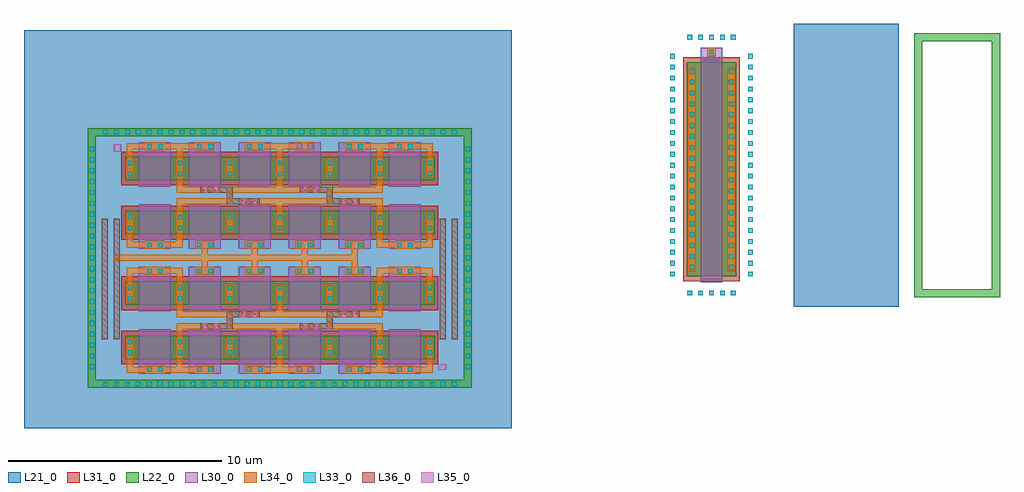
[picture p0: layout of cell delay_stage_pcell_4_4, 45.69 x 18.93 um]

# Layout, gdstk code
from math import pi, radians
import gdstk
lib = gdstk.Library(unit=1e-6, precision=5e-09)
def R(c, l, rs):  # rectangles x0, y0, x1, y1
    for r in rs: c.add(gdstk.rectangle(r[:2], r[2:], *l))
def A(c, l, x, y, w, h, nx, ny, dx, dy):  # array of equal rectangles
    R(c, l, [(x+i*dx, y+j*dy, x+i*dx+w, y+j*dy+h) for i in range(nx) for j in range(ny)])
def P(c, l, *ps):  # polygons
    for p in ps: c.add(gdstk.Polygon(p, *l))
L21_0 = (21, 0)
L22_0 = (22, 0)
L30_0 = (30, 0)
L31_0 = (31, 0)
L33_0 = (33, 0)
L34_0 = (34, 0)
L35_0 = (35, 0)
L36_0 = (36, 0)

delay_stage_pcell_1_2 = lib.new_cell('delay_stage_pcell_1$2')
R(delay_stage_pcell_1_2, L22_0, [(0.17,0.3,0.63,1.4), (0.63,0.3,2.51,1.4), (2.51,0.3,2.97,1.4)])
R(delay_stage_pcell_1_2, L30_0, [(0.82,0,2.32,1.7)])
R(delay_stage_pcell_1_2, L31_0, [(0,0.06,3.14,1.64)])
R(delay_stage_pcell_1_2, L33_0, [(0.29,0.485,0.51,0.705), (2.63,0.485,2.85,0.705), (0.29,0.995,0.51,1.215), (2.63,0.995,2.85,1.215)])
R(delay_stage_pcell_1_2, L34_0, [(0.21,0.405,0.59,1.295), (2.55,0.405,2.93,1.295)])

delay_stage_pcell_4 = lib.new_cell('delay_stage_pcell_4')
delay_stage_pcell_4.add(gdstk.Reference(delay_stage_pcell_1_2, (0,0)))
delay_stage_pcell_4.add(gdstk.Reference(delay_stage_pcell_1_2, (2.34,0)))
delay_stage_pcell_4.add(gdstk.Reference(delay_stage_pcell_1_2, (4.68,0)))
delay_stage_pcell_4.add(gdstk.Reference(delay_stage_pcell_1_2, (7.02,0)))

delay_stage_pcell_1_1 = lib.new_cell('delay_stage_pcell_1$1')
R(delay_stage_pcell_1_1, L22_0, [(0.17,0.3,0.63,1.4), (0.63,0.3,2.51,1.4), (2.51,0.3,2.97,1.4)])
R(delay_stage_pcell_1_1, L30_0, [(0.82,0,2.32,1.7)])
R(delay_stage_pcell_1_1, L31_0, [(0,0.06,3.14,1.64)])
R(delay_stage_pcell_1_1, L33_0, [(0.29,0.485,0.51,0.705), (2.63,0.485,2.85,0.705), (0.29,0.995,0.51,1.215), (2.63,0.995,2.85,1.215)])
R(delay_stage_pcell_1_1, L34_0, [(0.21,0.405,0.59,1.295), (2.55,0.405,2.93,1.295)])

delay_stage_pcell_1_4 = lib.new_cell('delay_stage_pcell_1_4')
R(delay_stage_pcell_1_4, L30_0, [(0.82,0,2.32,0.38), (0.82,4.62,2.32,5), (0.82,5.84,2.32,6.22), (0.82,10.46,2.32,10.84)])
R(delay_stage_pcell_1_4, L33_0, [(1.205,0.08,1.425,0.3), (1.715,0.08,1.935,0.3), (1.205,4.7,1.425,4.92), (1.715,4.7,1.935,4.92), (1.205,5.92,1.425,6.14), (1.715,5.92,1.935,6.14), (1.205,10.54,1.425,10.76), (1.715,10.54,1.935,10.76)])
R(delay_stage_pcell_1_4, L34_0, [(1.125,0,2.015,0.38), (1.125,4.62,2.015,5), (1.125,5.84,2.015,6.22), (1.125,10.46,2.015,10.84)])
delay_stage_pcell_1_4.add(gdstk.FlexPath([(2.74,10.055),(2.74,10.65),(0.4,10.65),(0.4,10.055)], 0.28, ends="flush", simple_path=True, layer=34, datatype=0))  # L34_0
delay_stage_pcell_1_4.add(gdstk.FlexPath([(2.74,0.785),(2.74,0.19),(0.4,0.19),(0.4,0.785)], 0.28, ends="flush", simple_path=True, layer=34, datatype=0))  # L34_0
delay_stage_pcell_1_4.add(gdstk.FlexPath([(2.74,6.625),(2.74,6.03),(0.4,6.03),(0.4,6.625)], 0.28, ends="flush", simple_path=True, layer=34, datatype=0))  # L34_0
delay_stage_pcell_1_4.add(gdstk.FlexPath([(2.74,4.215),(2.74,4.81),(0.4,4.81),(0.4,4.215)], 0.28, ends="flush", simple_path=True, layer=34, datatype=0))  # L34_0
delay_stage_pcell_1_4.add(gdstk.Reference(delay_stage_pcell_1_1, (0,8.76)))
delay_stage_pcell_1_4.add(gdstk.Reference(delay_stage_pcell_1_1, (0,2.92)))
delay_stage_pcell_1_4.add(gdstk.Reference(delay_stage_pcell_1_1, (0,2.08), x_reflection=True))
delay_stage_pcell_1_4.add(gdstk.Reference(delay_stage_pcell_1_1, (0,7.92), x_reflection=True))

delay_stage_pcell_4_4 = lib.new_cell('delay_stage_pcell_4_4')
R(delay_stage_pcell_4_4, L21_0, [(-6.55,-2.045,16.29,16.595), (29.495,3.65,34.395,16.89)])
R(delay_stage_pcell_4_4, L22_0, [(24.485,5.08,24.945,15.08), (24.945,5.08,26.325,15.08), (26.325,5.08,26.785,15.08)])
P(delay_stage_pcell_4_4, L22_0, [(35.12,4.09),(35.12,16.07),(35.5,16.07),(35.5,4.47),(38.76,4.47),(38.76,16.07),(35.12,16.07),(35.12,16.45),(39.14,16.45),(39.14,4.09)])
R(delay_stage_pcell_4_4, L30_0, [(1.17,0.51,2.67,0.89), (1.17,0.51,2.67,0.89), (3.51,0.51,5.01,0.89), (3.51,0.51,5.01,0.89), (5.85,0.51,7.35,0.89), (5.85,0.51,7.35,0.89), (8.19,0.51,9.69,0.89), (8.19,0.51,9.69,0.89), (25.135,4.78,26.135,15.38), (1.17,5.13,2.67,5.51), (1.17,5.13,2.67,5.51), (3.51,5.13,5.01,5.51), (3.51,5.13,5.01,5.51), (5.85,5.13,7.35,5.51), (5.85,5.13,7.35,5.51), (8.19,5.13,9.69,5.51), (8.19,5.13,9.69,5.51), (1.17,6.35,2.67,6.73), (1.17,6.35,2.67,6.73), (3.51,6.35,5.01,6.73), (3.51,6.35,5.01,6.73), (5.85,6.35,7.35,6.73), (5.85,6.35,7.35,6.73), (8.19,6.35,9.69,6.73), (8.19,6.35,9.69,6.73), (1.17,10.97,2.67,11.35), (1.17,10.97,2.67,11.35), (3.51,10.97,5.01,11.35), (3.51,10.97,5.01,11.35), (5.85,10.97,7.35,11.35), (5.85,10.97,7.35,11.35), (8.19,10.97,9.69,11.35), (8.19,10.97,9.69,11.35), (25.135,15.38,26.135,15.76)])
R(delay_stage_pcell_4_4, L31_0, [(24.315,4.84,26.955,15.32)])
A(delay_stage_pcell_4_4, L33_0, -2.84, -0.07, 0.22, 0.22, 33, 2, 0.51, 11.78)
A(delay_stage_pcell_4_4, L33_0, -3.48, 0.72, 0.22, 0.22, 1, 21, 0, 0.51)
A(delay_stage_pcell_4_4, L33_0, 14.12, 0.72, 0.22, 0.22, 1, 21, 0, 0.51)
A(delay_stage_pcell_4_4, L33_0, 24.505, 4.17, 0.22, 0.22, 5, 2, 0.51, 11.98)
A(delay_stage_pcell_4_4, L33_0, 23.705, 5.06, 0.22, 0.22, 1, 21, 0, 0.51)
A(delay_stage_pcell_4_4, L33_0, 27.345, 5.06, 0.22, 0.22, 1, 21, 0, 0.51)
A(delay_stage_pcell_4_4, L33_0, 24.605, 5.38, 0.22, 0.22, 1, 19, 0, 0.51)
A(delay_stage_pcell_4_4, L33_0, 26.445, 5.38, 0.22, 0.22, 1, 19, 0, 0.51)
R(delay_stage_pcell_4_4, L33_0, [(1.555,0.59,1.775,0.81), (1.555,0.59,1.775,0.81), (2.065,0.59,2.285,0.81), (2.065,0.59,2.285,0.81), (3.895,0.59,4.115,0.81), (3.895,0.59,4.115,0.81), (4.405,0.59,4.625,0.81), (4.405,0.59,4.625,0.81), (6.235,0.59,6.455,0.81), (6.235,0.59,6.455,0.81), (6.745,0.59,6.965,0.81), (6.745,0.59,6.965,0.81), (8.575,0.59,8.795,0.81), (8.575,0.59,8.795,0.81), (9.085,0.59,9.305,0.81), (9.085,0.59,9.305,0.81), (1.555,5.21,1.775,5.43), (1.555,5.21,1.775,5.43), (2.065,5.21,2.285,5.43), (2.065,5.21,2.285,5.43), (3.895,5.21,4.115,5.43), (3.895,5.21,4.115,5.43), (4.405,5.21,4.625,5.43), (4.405,5.21,4.625,5.43), (6.235,5.21,6.455,5.43), (6.235,5.21,6.455,5.43), (6.745,5.21,6.965,5.43), (6.745,5.21,6.965,5.43), (8.575,5.21,8.795,5.43), (8.575,5.21,8.795,5.43), (9.085,5.21,9.305,5.43), (9.085,5.21,9.305,5.43), (1.555,6.43,1.775,6.65), (1.555,6.43,1.775,6.65), (2.065,6.43,2.285,6.65), (2.065,6.43,2.285,6.65), (3.895,6.43,4.115,6.65), (3.895,6.43,4.115,6.65), (4.405,6.43,4.625,6.65), (4.405,6.43,4.625,6.65), (6.235,6.43,6.455,6.65), (6.235,6.43,6.455,6.65), (6.745,6.43,6.965,6.65), (6.745,6.43,6.965,6.65), (8.575,6.43,8.795,6.65), (8.575,6.43,8.795,6.65), (9.085,6.43,9.305,6.65), (9.085,6.43,9.305,6.65), (1.555,11.05,1.775,11.27), (1.555,11.05,1.775,11.27), (2.065,11.05,2.285,11.27), (2.065,11.05,2.285,11.27), (3.895,11.05,4.115,11.27), (3.895,11.05,4.115,11.27), (4.405,11.05,4.625,11.27), (4.405,11.05,4.625,11.27), (6.235,11.05,6.455,11.27), (6.235,11.05,6.455,11.27), (6.745,11.05,6.965,11.27), (6.745,11.05,6.965,11.27), (8.575,11.05,8.795,11.27), (8.575,11.05,8.795,11.27), (9.085,11.05,9.305,11.27), (9.085,11.05,9.305,11.27), (25.525,15.46,25.745,15.68)])
R(delay_stage_pcell_4_4, L34_0, [(1.475,0.51,2.365,0.89), (3.815,0.51,4.705,0.89), (3.815,0.51,4.705,0.89), (6.155,0.51,7.045,0.89), (6.155,0.51,7.045,0.89), (8.495,0.51,9.385,0.89), (1.475,5.13,2.365,5.51), (1.475,5.13,2.365,5.51), (3.815,5.13,4.705,5.51), (3.815,5.13,4.705,5.51), (6.155,5.13,7.045,5.51), (6.155,5.13,7.045,5.51), (8.495,5.13,9.385,5.51), (24.525,5.3,24.905,14.86), (26.365,5.3,26.745,14.86), (1.475,6.35,2.365,6.73), (1.475,6.35,2.365,6.73), (3.815,6.35,4.705,6.73), (3.815,6.35,4.705,6.73), (6.155,6.35,7.045,6.73), (6.155,6.35,7.045,6.73), (8.495,6.35,9.385,6.73), (8.495,6.35,9.385,6.73), (1.475,10.97,2.365,11.35), (3.815,10.97,4.705,11.35), (3.815,10.97,4.705,11.35), (6.155,10.97,7.045,11.35), (6.155,10.97,7.045,11.35), (8.495,10.97,9.385,11.35), (25.445,15.38,25.825,15.76)])
R(delay_stage_pcell_4_4, L35_0, [(6.21,0.57,6.47,0.83), (6.21,0.57,6.47,0.83), (6.73,0.57,6.99,0.83), (6.73,0.57,6.99,0.83), (12.85,0.69,13.21,0.95), (1.79,2.6,2.05,2.86), (1.79,2.6,2.05,2.86), (2.31,2.6,2.57,2.86), (2.31,2.6,2.57,2.86), (6.47,2.6,6.73,2.86), (6.47,2.6,6.73,2.86), (6.99,2.6,7.25,2.86), (6.99,2.6,7.25,2.86), (3.61,3.16,3.87,3.42), (3.61,3.16,3.87,3.42), (4.13,3.16,4.39,3.42), (4.13,3.16,4.39,3.42), (8.29,3.16,8.55,3.42), (8.29,3.16,8.55,3.42), (8.81,3.16,9.07,3.42), (8.81,3.16,9.07,3.42), (3.61,8.44,3.87,8.7), (3.61,8.44,3.87,8.7), (4.13,8.44,4.39,8.7), (4.13,8.44,4.39,8.7), (8.29,8.44,8.55,8.7), (8.29,8.44,8.55,8.7), (8.81,8.44,9.07,8.7), (8.81,8.44,9.07,8.7), (1.79,9,2.05,9.26), (1.79,9,2.05,9.26), (2.31,9,2.57,9.26), (2.31,9,2.57,9.26), (6.47,9,6.73,9.26), (6.47,9,6.73,9.26), (6.99,9,7.25,9.26), (6.99,9,7.25,9.26), (-2.36,10.91,-1.99,11.245), (6.21,11.03,6.47,11.29), (6.21,11.03,6.47,11.29), (6.73,11.03,6.99,11.29), (6.73,11.03,6.99,11.29)])
delay_stage_pcell_4_4.add(gdstk.FlexPath([(4.705,11.16),(6.155,11.16)], 0.28, ends="flush", simple_path=True, layer=34, datatype=0))  # L34_0
delay_stage_pcell_4_4.add(gdstk.FlexPath([(5.43,10.565),(5.43,11.02)], 0.28, ends="flush", simple_path=True, layer=34, datatype=0))  # L34_0
delay_stage_pcell_4_4.add(gdstk.FlexPath([(1.475,11.16),(0.75,11.16),(0.75,10.565)], 0.28, ends="flush", simple_path=True, layer=34, datatype=0))  # L34_0
delay_stage_pcell_4_4.add(gdstk.FlexPath([(9.385,11.16),(10.11,11.16),(10.11,10.565)], 0.28, ends="flush", simple_path=True, layer=34, datatype=0))  # L34_0
delay_stage_pcell_4_4.add(gdstk.FlexPath([(4.705,0.7),(6.155,0.7)], 0.28, ends="flush", simple_path=True, layer=34, datatype=0))  # L34_0
delay_stage_pcell_4_4.add(gdstk.FlexPath([(5.43,1.295),(5.43,0.84)], 0.28, ends="flush", simple_path=True, layer=34, datatype=0))  # L34_0
delay_stage_pcell_4_4.add(gdstk.FlexPath([(1.475,0.7),(0.75,0.7),(0.75,1.295)], 0.28, ends="flush", simple_path=True, layer=34, datatype=0))  # L34_0
delay_stage_pcell_4_4.add(gdstk.FlexPath([(9.385,0.7),(10.11,0.7),(10.11,1.295)], 0.28, ends="flush", simple_path=True, layer=34, datatype=0))  # L34_0
delay_stage_pcell_4_4.add(gdstk.FlexPath([(9.08,5.93),(-2.325,5.93)], 0.28, ends="flush", simple_path=True, layer=34, datatype=0))  # L34_0
delay_stage_pcell_4_4.add(gdstk.FlexPath([(10.11,2.185),(10.11,2.73),(9.17,2.73)], 0.28, ends="flush", simple_path=True, layer=34, datatype=0))  # L34_0
delay_stage_pcell_4_4.add(gdstk.FlexPath([(10.11,2.185),(10.11,2.73),(9.17,2.73)], 0.28, ends="flush", simple_path=True, layer=34, datatype=0))  # L34_0
delay_stage_pcell_4_4.add(gdstk.FlexPath([(5.43,2.185),(5.43,2.59)], 0.28, ends="flush", simple_path=True, layer=34, datatype=0))  # L34_0
delay_stage_pcell_4_4.add(gdstk.FlexPath([(5.43,2.185),(5.43,2.59)], 0.28, ends="flush", simple_path=True, layer=34, datatype=0))  # L34_0
delay_stage_pcell_4_4.add(gdstk.FlexPath([(0.75,2.185),(0.75,2.73),(1.69,2.73)], 0.28, ends="flush", simple_path=True, layer=34, datatype=0))  # L34_0
delay_stage_pcell_4_4.add(gdstk.FlexPath([(0.75,2.185),(0.75,2.73),(1.69,2.73)], 0.28, ends="flush", simple_path=True, layer=34, datatype=0))  # L34_0
delay_stage_pcell_4_4.add(gdstk.FlexPath([(9.17,2.73),(7.77,2.73),(7.77,3.29),(6.37,3.29)], 0.28, ends="flush", simple_path=True, layer=34, datatype=0))  # L34_0
delay_stage_pcell_4_4.add(gdstk.FlexPath([(9.17,2.73),(7.77,2.73),(7.77,3.29),(6.37,3.29)], 0.28, ends="flush", simple_path=True, layer=34, datatype=0))  # L34_0
delay_stage_pcell_4_4.add(gdstk.FlexPath([(7.35,2.73),(6.37,2.73)], 0.28, ends="flush", simple_path=True, layer=34, datatype=0))  # L34_0
delay_stage_pcell_4_4.add(gdstk.FlexPath([(7.35,2.73),(6.37,2.73)], 0.28, ends="flush", simple_path=True, layer=34, datatype=0))  # L34_0
delay_stage_pcell_4_4.add(gdstk.FlexPath([(4.49,2.73),(6.37,2.73)], 0.28, ends="flush", simple_path=True, layer=34, datatype=0))  # L34_0
delay_stage_pcell_4_4.add(gdstk.FlexPath([(4.49,2.73),(6.37,2.73)], 0.28, ends="flush", simple_path=True, layer=34, datatype=0))  # L34_0
delay_stage_pcell_4_4.add(gdstk.FlexPath([(4.49,2.73),(3.09,2.73),(3.09,3.29),(1.69,3.29)], 0.28, ends="flush", simple_path=True, layer=34, datatype=0))  # L34_0
delay_stage_pcell_4_4.add(gdstk.FlexPath([(4.49,2.73),(3.09,2.73),(3.09,3.29),(1.69,3.29)], 0.28, ends="flush", simple_path=True, layer=34, datatype=0))  # L34_0
delay_stage_pcell_4_4.add(gdstk.FlexPath([(2.67,2.73),(1.69,2.73)], 0.28, ends="flush", simple_path=True, layer=34, datatype=0))  # L34_0
delay_stage_pcell_4_4.add(gdstk.FlexPath([(2.67,2.73),(1.69,2.73)], 0.28, ends="flush", simple_path=True, layer=34, datatype=0))  # L34_0
delay_stage_pcell_4_4.add(gdstk.FlexPath([(9.17,3.29),(8.19,3.29)], 0.28, ends="flush", simple_path=True, layer=34, datatype=0))  # L34_0
delay_stage_pcell_4_4.add(gdstk.FlexPath([(9.17,3.29),(8.19,3.29)], 0.28, ends="flush", simple_path=True, layer=34, datatype=0))  # L34_0
delay_stage_pcell_4_4.add(gdstk.FlexPath([(4.49,3.29),(6.37,3.29)], 0.28, ends="flush", simple_path=True, layer=34, datatype=0))  # L34_0
delay_stage_pcell_4_4.add(gdstk.FlexPath([(4.49,3.29),(6.37,3.29)], 0.28, ends="flush", simple_path=True, layer=34, datatype=0))  # L34_0
delay_stage_pcell_4_4.add(gdstk.FlexPath([(4.49,3.29),(3.51,3.29)], 0.28, ends="flush", simple_path=True, layer=34, datatype=0))  # L34_0
delay_stage_pcell_4_4.add(gdstk.FlexPath([(4.49,3.29),(3.51,3.29)], 0.28, ends="flush", simple_path=True, layer=34, datatype=0))  # L34_0
delay_stage_pcell_4_4.add(gdstk.FlexPath([(1.69,3.29),(0.75,3.29),(0.75,3.835)], 0.28, ends="flush", simple_path=True, layer=34, datatype=0))  # L34_0
delay_stage_pcell_4_4.add(gdstk.FlexPath([(1.69,3.29),(0.75,3.29),(0.75,3.835)], 0.28, ends="flush", simple_path=True, layer=34, datatype=0))  # L34_0
delay_stage_pcell_4_4.add(gdstk.FlexPath([(10.11,3.835),(10.11,3.29),(9.17,3.29)], 0.28, ends="flush", simple_path=True, layer=34, datatype=0))  # L34_0
delay_stage_pcell_4_4.add(gdstk.FlexPath([(10.11,3.835),(10.11,3.29),(9.17,3.29)], 0.28, ends="flush", simple_path=True, layer=34, datatype=0))  # L34_0
delay_stage_pcell_4_4.add(gdstk.FlexPath([(5.43,3.835),(5.43,3.43)], 0.28, ends="flush", simple_path=True, layer=34, datatype=0))  # L34_0
delay_stage_pcell_4_4.add(gdstk.FlexPath([(5.43,3.835),(5.43,3.43)], 0.28, ends="flush", simple_path=True, layer=34, datatype=0))  # L34_0
delay_stage_pcell_4_4.add(gdstk.FlexPath([(10.11,8.025),(10.11,8.57),(9.17,8.57)], 0.28, ends="flush", simple_path=True, layer=34, datatype=0))  # L34_0
delay_stage_pcell_4_4.add(gdstk.FlexPath([(10.11,9.675),(10.11,9.13),(9.17,9.13)], 0.28, ends="flush", simple_path=True, layer=34, datatype=0))  # L34_0
delay_stage_pcell_4_4.add(gdstk.FlexPath([(5.43,9.675),(5.43,9.27)], 0.28, ends="flush", simple_path=True, layer=34, datatype=0))  # L34_0
delay_stage_pcell_4_4.add(gdstk.FlexPath([(5.43,8.025),(5.43,8.43)], 0.28, ends="flush", simple_path=True, layer=34, datatype=0))  # L34_0
delay_stage_pcell_4_4.add(gdstk.FlexPath([(1.69,8.57),(0.75,8.57),(0.75,8.025)], 0.28, ends="flush", simple_path=True, layer=34, datatype=0))  # L34_0
delay_stage_pcell_4_4.add(gdstk.FlexPath([(0.75,9.675),(0.75,9.13),(1.69,9.13)], 0.28, ends="flush", simple_path=True, layer=34, datatype=0))  # L34_0
delay_stage_pcell_4_4.add(gdstk.FlexPath([(9.17,9.13),(7.77,9.13),(7.77,8.57),(6.37,8.57)], 0.28, ends="flush", simple_path=True, layer=34, datatype=0))  # L34_0
delay_stage_pcell_4_4.add(gdstk.FlexPath([(4.49,9.13),(3.09,9.13),(3.09,8.57),(1.69,8.57)], 0.28, ends="flush", simple_path=True, layer=34, datatype=0))  # L34_0
delay_stage_pcell_4_4.add(gdstk.FlexPath([(2.67,9.13),(1.69,9.13)], 0.28, ends="flush", simple_path=True, layer=34, datatype=0))  # L34_0
delay_stage_pcell_4_4.add(gdstk.FlexPath([(4.49,8.57),(3.51,8.57)], 0.28, ends="flush", simple_path=True, layer=34, datatype=0))  # L34_0
delay_stage_pcell_4_4.add(gdstk.FlexPath([(9.17,8.57),(8.19,8.57)], 0.28, ends="flush", simple_path=True, layer=34, datatype=0))  # L34_0
delay_stage_pcell_4_4.add(gdstk.FlexPath([(7.35,9.13),(6.37,9.13)], 0.28, ends="flush", simple_path=True, layer=34, datatype=0))  # L34_0
delay_stage_pcell_4_4.add(gdstk.FlexPath([(4.49,9.13),(6.37,9.13)], 0.28, ends="flush", simple_path=True, layer=34, datatype=0))  # L34_0
delay_stage_pcell_4_4.add(gdstk.FlexPath([(4.49,8.57),(6.37,8.57)], 0.28, ends="flush", simple_path=True, layer=34, datatype=0))  # L34_0
delay_stage_pcell_4_4.add(gdstk.FlexPath([(4.49,8.57),(6.37,8.57)], 0.28, ends="flush", simple_path=True, layer=34, datatype=0))  # L34_0
delay_stage_pcell_4_4.add(gdstk.FlexPath([(4.49,9.13),(6.37,9.13)], 0.28, ends="flush", simple_path=True, layer=34, datatype=0))  # L34_0
delay_stage_pcell_4_4.add(gdstk.FlexPath([(7.35,9.13),(6.37,9.13)], 0.28, ends="flush", simple_path=True, layer=34, datatype=0))  # L34_0
delay_stage_pcell_4_4.add(gdstk.FlexPath([(9.17,8.57),(8.19,8.57)], 0.28, ends="flush", simple_path=True, layer=34, datatype=0))  # L34_0
delay_stage_pcell_4_4.add(gdstk.FlexPath([(4.49,8.57),(3.51,8.57)], 0.28, ends="flush", simple_path=True, layer=34, datatype=0))  # L34_0
delay_stage_pcell_4_4.add(gdstk.FlexPath([(2.67,9.13),(1.69,9.13)], 0.28, ends="flush", simple_path=True, layer=34, datatype=0))  # L34_0
delay_stage_pcell_4_4.add(gdstk.FlexPath([(4.49,9.13),(3.09,9.13),(3.09,8.57),(1.69,8.57)], 0.28, ends="flush", simple_path=True, layer=34, datatype=0))  # L34_0
delay_stage_pcell_4_4.add(gdstk.FlexPath([(9.17,9.13),(7.77,9.13),(7.77,8.57),(6.37,8.57)], 0.28, ends="flush", simple_path=True, layer=34, datatype=0))  # L34_0
delay_stage_pcell_4_4.add(gdstk.FlexPath([(0.75,9.675),(0.75,9.13),(1.69,9.13)], 0.28, ends="flush", simple_path=True, layer=34, datatype=0))  # L34_0
delay_stage_pcell_4_4.add(gdstk.FlexPath([(1.69,8.57),(0.75,8.57),(0.75,8.025)], 0.28, ends="flush", simple_path=True, layer=34, datatype=0))  # L34_0
delay_stage_pcell_4_4.add(gdstk.FlexPath([(5.43,8.025),(5.43,8.43)], 0.28, ends="flush", simple_path=True, layer=34, datatype=0))  # L34_0
delay_stage_pcell_4_4.add(gdstk.FlexPath([(5.43,9.675),(5.43,9.27)], 0.28, ends="flush", simple_path=True, layer=34, datatype=0))  # L34_0
delay_stage_pcell_4_4.add(gdstk.FlexPath([(10.11,9.675),(10.11,9.13),(9.17,9.13)], 0.28, ends="flush", simple_path=True, layer=34, datatype=0))  # L34_0
delay_stage_pcell_4_4.add(gdstk.FlexPath([(10.11,8.025),(10.11,8.57),(9.17,8.57)], 0.28, ends="flush", simple_path=True, layer=34, datatype=0))  # L34_0
delay_stage_pcell_4_4.add(gdstk.FlexPath([(8.94,5.51),(8.94,5.79)], 0.28, ends="flush", simple_path=True, layer=34, datatype=0))  # L34_0
delay_stage_pcell_4_4.add(gdstk.FlexPath([(8.94,6.35),(8.94,6.07)], 0.28, ends="flush", simple_path=True, layer=34, datatype=0))  # L34_0
delay_stage_pcell_4_4.add(gdstk.FlexPath([(6.6,5.51),(6.6,5.79)], 0.28, ends="flush", simple_path=True, layer=34, datatype=0))  # L34_0
delay_stage_pcell_4_4.add(gdstk.FlexPath([(6.6,6.35),(6.6,6.07)], 0.28, ends="flush", simple_path=True, layer=34, datatype=0))  # L34_0
delay_stage_pcell_4_4.add(gdstk.FlexPath([(4.26,5.51),(4.26,5.79)], 0.28, ends="flush", simple_path=True, layer=34, datatype=0))  # L34_0
delay_stage_pcell_4_4.add(gdstk.FlexPath([(4.26,6.35),(4.26,6.07)], 0.28, ends="flush", simple_path=True, layer=34, datatype=0))  # L34_0
delay_stage_pcell_4_4.add(gdstk.FlexPath([(1.92,5.51),(1.92,5.79)], 0.28, ends="flush", simple_path=True, layer=34, datatype=0))  # L34_0
delay_stage_pcell_4_4.add(gdstk.FlexPath([(1.92,6.35),(1.92,6.07)], 0.28, ends="flush", simple_path=True, layer=34, datatype=0))  # L34_0
delay_stage_pcell_4_4.add(gdstk.FlexPath([(14.23,12.01),(14.23,0.04),(-3.37,0.04),(-3.37,11.82),(14.04,11.82)], 0.38, ends="flush", simple_path=True, layer=22, datatype=0))  # L22_0
delay_stage_pcell_4_4.add(gdstk.FlexPath([(-2.2,2.125),(-2.2,7.77)], 0.28, ends="flush", simple_path=True, layer=36, datatype=0))  # L36_0
delay_stage_pcell_4_4.add(gdstk.FlexPath([(9.17,3.29),(7.77,3.29),(7.77,2.73),(6.37,2.73)], 0.28, ends="flush", simple_path=True, layer=36, datatype=0))  # L36_0
delay_stage_pcell_4_4.add(gdstk.FlexPath([(9.17,3.29),(7.77,3.29),(7.77,2.73),(6.37,2.73)], 0.28, ends="flush", simple_path=True, layer=36, datatype=0))  # L36_0
delay_stage_pcell_4_4.add(gdstk.FlexPath([(4.49,3.29),(3.09,3.29),(3.09,2.73),(1.69,2.73)], 0.28, ends="flush", simple_path=True, layer=36, datatype=0))  # L36_0
delay_stage_pcell_4_4.add(gdstk.FlexPath([(4.49,3.29),(3.09,3.29),(3.09,2.73),(1.69,2.73)], 0.28, ends="flush", simple_path=True, layer=36, datatype=0))  # L36_0
delay_stage_pcell_4_4.add(gdstk.FlexPath([(4.49,8.57),(3.09,8.57),(3.09,9.13),(1.69,9.13)], 0.28, ends="flush", simple_path=True, layer=36, datatype=0))  # L36_0
delay_stage_pcell_4_4.add(gdstk.FlexPath([(9.17,8.57),(7.77,8.57),(7.77,9.13),(6.37,9.13)], 0.28, ends="flush", simple_path=True, layer=36, datatype=0))  # L36_0
delay_stage_pcell_4_4.add(gdstk.FlexPath([(9.17,8.57),(7.77,8.57),(7.77,9.13),(6.37,9.13)], 0.28, ends="flush", simple_path=True, layer=36, datatype=0))  # L36_0
delay_stage_pcell_4_4.add(gdstk.FlexPath([(4.49,8.57),(3.09,8.57),(3.09,9.13),(1.69,9.13)], 0.28, ends="flush", simple_path=True, layer=36, datatype=0))  # L36_0
delay_stage_pcell_4_4.add(gdstk.FlexPath([(13.06,2.125),(13.06,7.77)], 0.28, ends="flush", simple_path=True, layer=36, datatype=0))  # L36_0
delay_stage_pcell_4_4.add(gdstk.FlexPath([(13.62,2.125),(13.62,7.77)], 0.28, ends="flush", simple_path=True, layer=36, datatype=0))  # L36_0
delay_stage_pcell_4_4.add(gdstk.FlexPath([(-2.76,2.125),(-2.76,7.77)], 0.28, ends="flush", simple_path=True, layer=36, datatype=0))  # L36_0
delay_stage_pcell_4_4.add(gdstk.Reference(delay_stage_pcell_4, (10.51,3.43), rotation=pi, x_reflection=True))
delay_stage_pcell_4_4.add(gdstk.Reference(delay_stage_pcell_4, (10.51,2.59), rotation=pi))
delay_stage_pcell_4_4.add(gdstk.Reference(delay_stage_pcell_4, (10.51,9.27), rotation=pi, x_reflection=True))
delay_stage_pcell_4_4.add(gdstk.Reference(delay_stage_pcell_4, (10.51,8.43), rotation=pi))
delay_stage_pcell_4_4.add(gdstk.Reference(delay_stage_pcell_1_4, (12.85,0.51), rotation=pi, x_reflection=True))
delay_stage_pcell_4_4.add(gdstk.Reference(delay_stage_pcell_1_4, (1.15,0.51), rotation=pi, x_reflection=True))

lib.write_gds('delay_stage_pcell_4_4.gds')
